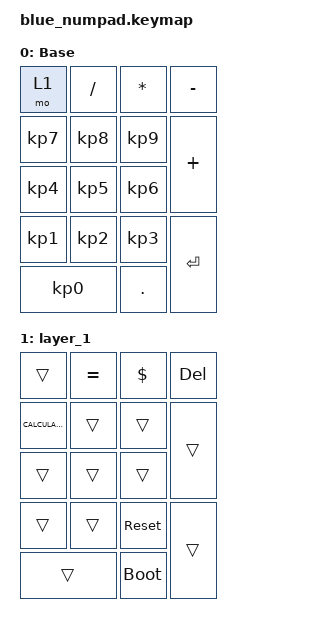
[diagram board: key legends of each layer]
#include <behaviors.dtsi>
#include <dt-bindings/zmk/keys.h>

/ {
    keymap {
        compatible = "zmk,keymap";

        default_layer {
            display-name = "Base";
            bindings = <
&mo 1            &kp SLASH        &kp ASTERISK     &kp MINUS
&kp KP_NUMBER_7  &kp KP_NUMBER_8  &kp KP_NUMBER_9  &kp PLUS
&kp KP_NUMBER_4  &kp KP_NUMBER_5  &kp KP_NUMBER_6
&kp KP_NUMBER_1  &kp KP_NUMBER_2  &kp KP_NUMBER_3  &kp ENTER
&kp KP_NUMBER_0                   &kp DOT
            >;
        };

        layer_1 {
            bindings = <
&trans            &kp EQUAL  &kp DOLLAR   &kp DELETE
&kp K_CALCULATOR  &trans     &trans       &trans
&trans            &trans     &trans
&trans            &trans     &sys_reset   &trans
&trans                       &bootloader
            >;
        };
    };
};
/* Correct diode direction for this build */
&kscan0 {
    diode-direction = "col2row";
};
